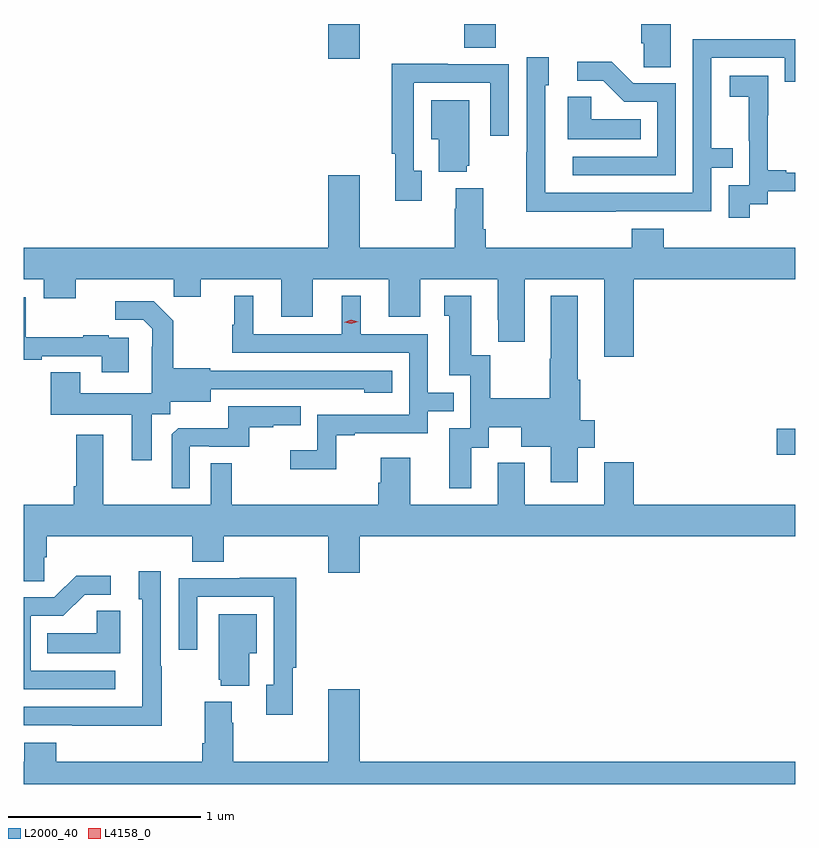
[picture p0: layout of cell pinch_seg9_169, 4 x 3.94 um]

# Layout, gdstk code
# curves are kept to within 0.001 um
import gdstk
lib = gdstk.Library(unit=1e-6, precision=1e-09)
def R(c, l, rs):  # rectangles x0, y0, x1, y1
    for r in rs: c.add(gdstk.rectangle(r[:2], r[2:], *l))
def P(c, l, *ps):  # polygons
    for p in ps: c.add(gdstk.Polygon(p, *l))
L2000_40 = (2000, 40)
L4158_0 = (4158, 0)

pinch_seg9_169 = lib.new_cell('pinch_seg9_169')
R(pinch_seg9_169, L2000_40, [(670.83,1166.207,670.926,1166.342), (668.504,1168.26,668.668,1168.439), (669.209,1168.315,669.374,1168.439)])
P(pinch_seg9_169, L2000_40, [(670.127,1168.339),(670.14,1168.339),(670.14,1168.216),(670.279,1168.216),(670.279,1168.439),(670.127,1168.439)],
  [(669.995,1167.468),(670.491,1167.468),(670.491,1167.693),(670.601,1167.693),(670.601,1167.794),(670.491,1167.794),(670.491,1168.263),(670.872,1168.263),(670.872,1168.14),(670.926,1168.14),(670.926,1168.359),(670.395,1168.359),(670.395,1167.564),(669.63,1167.564),(669.63,1168.122),(669.649,1168.122),(669.649,1168.267),(669.534,1168.267),(669.534,1167.773),(669.532,1167.773),(669.532,1167.467),(669.995,1167.467)],
  [(670.305,1168.131),(670.086,1168.131),(669.973,1168.244),(669.795,1168.244),(669.795,1168.146),(669.929,1168.146),(670.04,1168.035),(670.209,1168.035),(670.209,1167.75),(669.771,1167.75),(669.771,1167.654),(670.305,1167.654)],
  [(668.989,1167.678),(668.949,1167.678),(668.949,1168.134),(669.345,1168.134),(669.345,1167.861),(669.441,1167.861),(669.441,1168.23),(669.125,1168.23),(669.125,1168.232),(668.833,1168.232),(668.833,1167.766),(668.852,1167.766),(668.852,1167.522),(668.989,1167.522)],
  [(670.69,1167.505),(670.782,1167.505),(670.782,1167.573),(670.926,1167.573),(670.926,1167.669),(670.879,1167.669),(670.879,1167.682),(670.784,1167.682),(670.784,1167.965),(670.785,1167.965),(670.785,1168.171),(670.587,1168.171),(670.587,1168.061),(670.685,1168.061),(670.685,1167.833),(670.686,1167.833),(670.686,1167.603),(670.581,1167.603),(670.581,1167.435),(670.69,1167.435)],
  [(670.124,1167.946),(669.867,1167.946),(669.867,1168.061),(669.746,1168.061),(669.746,1167.842),(670.124,1167.842)],
  [(669.224,1167.705),(669.235,1167.705),(669.235,1168.045),(669.038,1168.045),(669.038,1167.842),(669.077,1167.842),(669.077,1167.674),(669.224,1167.674)],
  [(670.088,1167.116),(670.926,1167.116),(670.926,1167.28),(670.244,1167.28),(670.244,1167.379),(670.079,1167.379),(670.079,1167.28),(669.32,1167.28),(669.32,1167.376),(669.307,1167.376),(669.307,1167.589),(669.167,1167.589),(669.167,1167.482),(669.16,1167.482),(669.16,1167.28),(668.668,1167.28),(668.668,1167.655),(668.504,1167.655),(668.504,1167.28),(666.926,1167.28),(666.926,1167.116),(667.031,1167.116),(667.031,1167.017),(667.195,1167.017),(667.195,1167.116),(667.705,1167.116),(667.705,1167.026),(667.843,1167.026),(667.843,1167.116),(668.261,1167.116),(668.261,1166.922),(668.425,1166.922),(668.425,1167.116),(668.819,1167.116),(668.819,1166.922),(668.983,1166.922),(668.983,1167.116),(669.383,1167.116),(669.383,1166.905),(669.386,1166.905),(669.386,1166.793),(669.523,1166.793),(669.523,1167.116),(669.935,1167.116),(669.935,1166.715),(670.088,1166.715)],
  [(668.547,1166.307),(668.641,1166.307),(668.641,1166.319),(669.021,1166.319),(669.021,1166.433),(669.155,1166.433),(669.155,1166.529),(669.021,1166.529),(669.021,1166.832),(668.674,1166.832),(668.674,1167.031),(668.576,1167.031),(668.576,1166.832),(668.116,1166.832),(668.116,1167.031),(668.018,1167.031),(668.018,1166.88),(668.007,1166.88),(668.007,1166.736),(668.925,1166.736),(668.925,1166.415),(668.448,1166.415),(668.448,1166.23),(668.307,1166.23),(668.307,1166.132),(668.547,1166.132)],
  [(669.247,1166.242),(669.337,1166.242),(669.337,1166.348),(669.506,1166.348),(669.506,1166.249),(669.659,1166.249),(669.659,1166.064),(669.799,1166.064),(669.799,1166.242),(669.886,1166.242),(669.886,1166.384),(669.812,1166.384),(669.812,1166.596),(669.799,1166.596),(669.799,1167.031),(669.659,1167.031),(669.659,1166.705),(669.652,1166.705),(669.652,1166.5),(669.345,1166.5),(669.345,1166.723),(669.247,1166.723),(669.247,1167.031),(669.107,1167.031),(669.107,1166.928),(669.131,1166.928),(669.131,1166.619),(669.24,1166.619),(669.24,1166.343),(669.131,1166.343),(669.131,1166.034),(669.247,1166.034)],
  [(667.471,1166.814),(667.367,1166.814),(667.367,1166.827),(667.235,1166.827),(667.235,1166.816),(666.937,1166.816),(666.937,1167.024),(666.926,1167.024),(666.926,1166.7),(667.021,1166.7),(667.021,1166.718),(667.331,1166.718),(667.331,1166.634),(667.471,1166.634)],
  [(667.591,1166.416),(667.686,1166.416),(667.686,1166.48),(667.897,1166.48),(667.897,1166.547),(668.691,1166.546),(668.691,1166.528),(668.836,1166.528),(668.836,1166.643),(667.893,1166.643),(667.893,1166.656),(667.701,1166.656),(667.701,1166.901),(667.601,1167.001),(667.401,1167.001),(667.401,1166.907),(667.545,1166.907),(667.592,1166.86),(667.592,1166.765),(667.59,1166.765),(667.59,1166.524),(667.219,1166.524),(667.219,1166.633),(667.067,1166.633),(667.067,1166.414),(667.487,1166.414),(667.487,1166.178),(667.591,1166.178)],
  [(667.788,1166.25),(667.888,1166.25),(667.888,1166.247),(668.096,1166.247),(668.096,1166.349),(668.219,1166.349),(668.219,1166.36),(668.363,1166.36),(668.363,1166.457),(667.986,1166.457),(667.986,1166.345),(667.727,1166.345),(667.695,1166.313),(667.695,1166.033),(667.788,1166.033)],
  [(667.032,1165.675),(667.046,1165.675),(667.046,1165.784),(667.799,1165.784),(667.799,1165.651),(667.964,1165.651),(667.964,1165.784),(668.504,1165.784),(668.504,1165.596),(668.668,1165.596),(668.668,1165.784),(670.926,1165.784),(670.926,1165.948),(670.088,1165.948),(670.088,1166.167),(669.935,1166.167),(669.935,1165.948),(669.523,1165.948),(669.523,1166.164),(669.383,1166.164),(669.383,1165.948),(668.929,1165.948),(668.929,1166.191),(668.777,1166.191),(668.777,1166.061),(668.765,1166.061),(668.765,1165.948),(668.005,1165.948),(668.005,1166.162),(667.896,1166.162),(667.896,1165.948),(667.339,1165.948),(667.339,1166.311),(667.199,1166.311),(667.199,1166.044),(667.187,1166.044),(667.187,1165.948),(666.926,1165.948),(666.926,1165.552),(667.032,1165.552)],
  [(667.641,1165.109),(667.638,1165.109),(667.638,1165.603),(667.523,1165.603),(667.523,1165.458),(667.542,1165.458),(667.542,1164.9),(666.926,1164.9),(666.926,1164.804),(667.177,1164.804),(667.177,1164.803),(667.641,1164.803)],
  [(667.402,1165.086),(666.963,1165.086),(666.963,1165.371),(667.132,1165.371),(667.243,1165.482),(667.378,1165.482),(667.378,1165.58),(667.199,1165.58),(667.086,1165.467),(666.926,1165.467),(666.926,1164.99),(667.402,1164.99)],
  [(668.321,1165.102),(668.339,1165.102),(668.339,1165.568),(668.047,1165.568),(668.047,1165.566),(667.731,1165.566),(667.731,1165.197),(667.827,1165.197),(667.827,1165.47),(668.223,1165.47),(668.223,1165.014),(668.183,1165.014),(668.183,1164.858),(668.321,1164.858)],
  [(667.426,1165.397),(667.305,1165.397),(667.305,1165.282),(667.048,1165.282),(667.048,1165.178),(667.426,1165.178)],
  [(668.095,1165.178),(668.134,1165.178),(668.134,1165.381),(667.937,1165.381),(667.937,1165.041),(667.949,1165.041),(667.949,1165.01),(668.095,1165.01)],
  [(666.929,1164.616),(666.926,1164.616),(666.926,1164.5),(670.926,1164.5),(670.926,1164.616),(668.668,1164.616),(668.668,1164.991),(668.504,1164.991),(668.504,1164.616),(668.013,1164.616),(668.013,1164.818),(668.005,1164.818),(668.005,1164.925),(667.865,1164.925),(667.865,1164.712),(667.853,1164.712),(667.853,1164.616),(667.094,1164.616),(667.094,1164.715),(666.929,1164.715)])
P(pinch_seg9_169, L4158_0, [(668.625,1166.885),(668.589,1166.894),(668.589,1166.894),(668.589,1166.894),(668.625,1166.905),(668.661,1166.896),(668.661,1166.896),(668.661,1166.896)])

lib.write_gds('pinch_seg9_169.gds')
